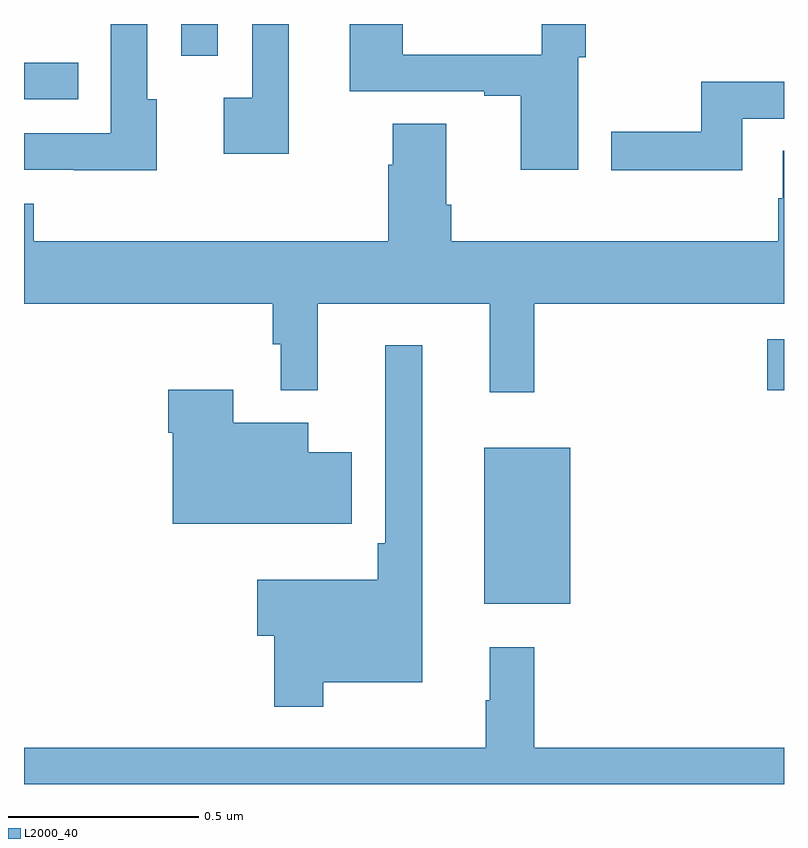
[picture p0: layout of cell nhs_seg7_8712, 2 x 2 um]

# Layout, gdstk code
import gdstk
lib = gdstk.Library(unit=1e-6, precision=1e-09)
def R(c, l, rs):  # rectangles x0, y0, x1, y1
    for r in rs: c.add(gdstk.rectangle(r[:2], r[2:], *l))
def P(c, l, *ps):  # polygons
    for p in ps: c.add(gdstk.Polygon(p, *l))
L2000_40 = (2000, 40)

nhs_seg7_8712 = lib.new_cell('nhs_seg7_8712')
R(nhs_seg7_8712, L2000_40, [(229.211,1018.475,229.438,1018.885), (229.956,1019.036,230,1019.17), (228,1019.802,228.143,1019.898), (228.414,1019.916,228.51,1020)])
P(nhs_seg7_8712, L2000_40, [(229.458,1019.912),(229.478,1019.912),(229.478,1020),(229.362,1020),(229.362,1019.919),(228.997,1019.919),(228.997,1020),(228.857,1020),(228.857,1019.823),(229.211,1019.823),(229.211,1019.811),(229.307,1019.811),(229.307,1019.616),(229.458,1019.616)],
  [(228.349,1019.802),(228.324,1019.802),(228.324,1020),(228.228,1020),(228.228,1019.712),(228,1019.712),(228,1019.616),(228.131,1019.616),(228.131,1019.615),(228.349,1019.615)],
  [(228.697,1020),(228.6,1020),(228.6,1019.806),(228.525,1019.806),(228.525,1019.658),(228.697,1019.658)],
  [(229.89,1019.751),(230,1019.751),(230,1019.848),(229.782,1019.848),(229.782,1019.717),(229.545,1019.717),(229.545,1019.615),(229.89,1019.615)],
  [(229.343,1019.264),(230,1019.264),(230,1019.666),(229.997,1019.666),(229.997,1019.541),(229.985,1019.541),(229.985,1019.428),(229.124,1019.428),(229.124,1019.524),(229.111,1019.524),(229.111,1019.738),(228.971,1019.738),(228.971,1019.63),(228.959,1019.63),(228.959,1019.428),(228.025,1019.428),(228.025,1019.527),(228,1019.527),(228,1019.264),(228.655,1019.264),(228.655,1019.157),(228.675,1019.157),(228.675,1019.036),(228.773,1019.036),(228.773,1019.264),(229.226,1019.264),(229.226,1019.031),(229.343,1019.031)],
  [(228.787,1018.268),(229.048,1018.268),(229.048,1019.155),(228.951,1019.155),(228.951,1018.633),(228.931,1018.633),(228.931,1018.537),(228.614,1018.537),(228.614,1018.39),(228.658,1018.39),(228.658,1018.203),(228.787,1018.203)],
  [(228.862,1018.873),(228.748,1018.873),(228.748,1018.951),(228.55,1018.951),(228.55,1019.038),(228.38,1019.038),(228.38,1018.925),(228.392,1018.925),(228.392,1018.685),(228.862,1018.685)],
  [(230,1018.096),(229.343,1018.096),(229.343,1018.36),(229.226,1018.36),(229.226,1018.22),(229.215,1018.22),(229.215,1018.096),(228,1018.096),(228,1018),(230,1018)])

lib.write_gds('nhs_seg7_8712.gds')
